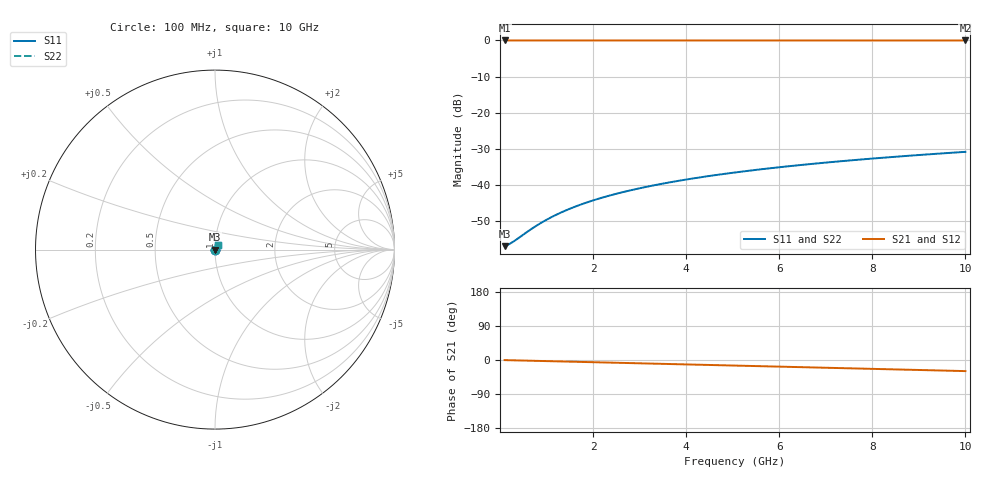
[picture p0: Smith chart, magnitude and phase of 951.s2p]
# Hz S RI R 50.00
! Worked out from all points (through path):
!   100 points, 100 MHz to 10 GHz, reference 50 ohm
!   highest |S21| = -0.01 dB at 100 MHz (marker M1); lowest = 0.0 dB at 10 GHz (marker M2)
!   group delay of S21, straight-line fit = 8.14 ps
!   lowest |S11| = -56.8 dB at 100 MHz (marker M3), VSWR 1.00, Z = 50.1 + j0.0295 ohm
!   |S11| at or under -10 dB: start of sweep to end of sweep
!   |S22| runs from -56.8 to -30.8 dB; largest |S21 - S12| = 0
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1e8  0.00141 0.000295  0.9986 -0.00506  0.9986 -0.00506  0.00141 0.000295
2e8  0.00142 0.000589  0.9985 -0.0101  0.9985 -0.0101  0.00142 0.000589
3e8  0.00143 0.000883  0.9984 -0.0152  0.9984 -0.0152  0.00143 0.000883
7e8  0.00151 0.00206  0.9979 -0.0354  0.9979 -0.0354  0.00151 0.00206
8e8  0.00153 0.00235  0.9977 -0.0405  0.9977 -0.0405  0.00153 0.00235
1e9  0.00159 0.00294  0.9972 -0.0506  0.9972 -0.0506  0.00159 0.00294
1.2e9  0.00165 0.00352  0.9967 -0.0608  0.9967 -0.0608  0.00165 0.00352
1.4e9  0.00173 0.0041  0.996 -0.0709  0.996 -0.0709  0.00173 0.0041
1.6e9  0.00182 0.00468  0.9952 -0.081  0.9952 -0.081  0.00182 0.00468
1.8e9  0.00192 0.00525  0.9943 -0.0911  0.9943 -0.0911  0.00192 0.00525
2.1e9  0.0021 0.00611  0.9928 -0.1062  0.9928 -0.1062  0.0021 0.00611
2.5e9  0.00237 0.00725  0.9904 -0.1264  0.9904 -0.1264  0.00237 0.00725
2.9e9  0.00269 0.00837  0.9876 -0.1465  0.9876 -0.1465  0.00269 0.00837
3.4e9  0.00315 0.00975  0.9835 -0.1716  0.9835 -0.1716  0.00315 0.00975
3.8e9  0.00357 0.0108  0.9798 -0.1916  0.9798 -0.1916  0.00357 0.0108
4.2e9  0.00403 0.0119  0.9756 -0.2115  0.9756 -0.2115  0.00403 0.0119
5.1e9  0.00523 0.0142  0.9648 -0.2561  0.9648 -0.2561  0.00523 0.0142
5.9e9  0.00648 0.0162  0.9535 -0.2954  0.9535 -0.2954  0.00648 0.0162
6.7e9  0.00789 0.0181  0.9405 -0.3342  0.9405 -0.3342  0.00789 0.0181
7.5e9  0.00946 0.0198  0.9259 -0.3725  0.9259 -0.3725  0.00946 0.0198
8.4e9  0.0114 0.0217  0.9076 -0.4149  0.9076 -0.4149  0.0114 0.0217
1e10  0.0153 0.0245  0.8701 -0.4883  0.8701 -0.4883  0.0153 0.0245
